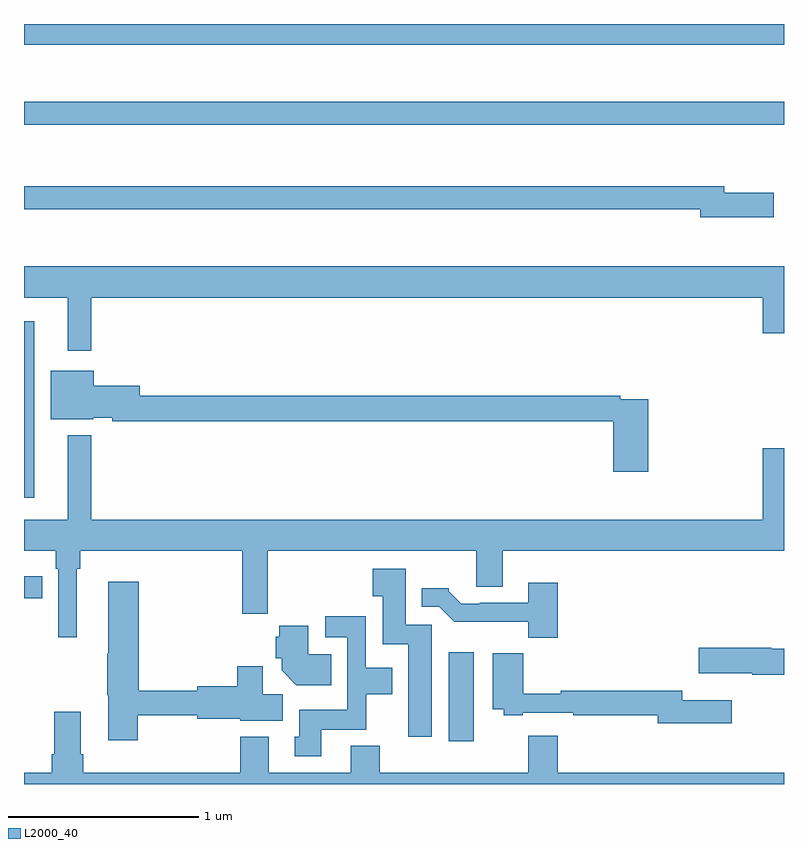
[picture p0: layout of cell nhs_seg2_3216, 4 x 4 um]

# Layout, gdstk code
import gdstk
lib = gdstk.Library(unit=1e-6, precision=1e-09)
def R(c, l, rs):  # rectangles x0, y0, x1, y1
    for r in rs: c.add(gdstk.rectangle(r[:2], r[2:], *l))
def P(c, l, *ps):  # polygons
    for p in ps: c.add(gdstk.Polygon(p, *l))
L2000_40 = (2000, 40)

nhs_seg2_3216 = lib.new_cell('nhs_seg2_3216')
R(nhs_seg2_3216, L2000_40, [(283.235,588.024,283.366,588.493), (281,588.778,281.096,588.894), (281,589.307,281.053,590.236), (281,591.27,285,591.391), (281,591.692,285,591.8)])
P(nhs_seg2_3216, L2000_40, [(284.947,590.913),(284.686,590.913),(284.686,590.947),(281,590.947),(281,590.826),(284.558,590.826),(284.558,590.783),(284.947,590.783)],
  [(281.353,590.36),(284.888,590.36),(284.888,590.172),(285,590.172),(285,590.524),(281,590.524),(281,590.36),(281.231,590.36),(281.231,590.079),(281.353,590.079)],
  [(284.285,589.824),(284.138,589.824),(284.138,589.844),(281.608,589.844),(281.608,589.897),(281.368,589.897),(281.368,589.975),(281.141,589.975),(281.141,589.721),(281.364,589.721),(281.364,589.727),(281.464,589.727),(281.464,589.708),(284.102,589.708),(284.102,589.443),(284.285,589.443)],
  [(281.278,588.932),(281.297,588.932),(281.297,589.028),(282.148,589.028),(282.148,588.696),(282.284,588.696),(282.284,589.028),(283.379,589.028),(283.379,588.838),(283.519,588.838),(283.519,589.028),(285,589.028),(285,589.567),(284.888,589.567),(284.888,589.192),(281.353,589.192),(281.353,589.636),(281.231,589.636),(281.231,589.192),(281,589.192),(281,589.028),(281.168,589.028),(281.168,588.932),(281.181,588.932),(281.181,588.573),(281.278,588.573)],
  [(283.147,588.639),(283.009,588.639),(283.009,588.934),(282.836,588.934),(282.836,588.787),(282.887,588.787),(282.887,588.536),(283.022,588.536),(283.022,588.048),(283.147,588.048)],
  [(281.598,588.162),(281.912,588.162),(281.912,588.143),(282.138,588.143),(282.138,588.134),(282.361,588.134),(282.361,588.272),(282.256,588.272),(282.256,588.421),(282.122,588.421),(282.122,588.314),(281.912,588.314),(281.912,588.29),(281.603,588.29),(281.603,588.865),(281.444,588.865),(281.444,588.485),(281.437,588.485),(281.437,588.267),(281.444,588.267),(281.444,588.03),(281.598,588.03)],
  [(283.808,588.859),(283.655,588.859),(283.655,588.753),(283.399,588.753),(283.399,588.75),(283.3,588.75),(283.236,588.814),(283.236,588.829),(283.094,588.829),(283.094,588.732),(283.185,588.732),(283.264,588.654),(283.653,588.654),(283.653,588.569),(283.808,588.569)],
  [(282.565,588.086),(282.801,588.086),(282.801,588.272),(282.937,588.272),(282.937,588.412),(282.798,588.412),(282.798,588.682),(282.585,588.682),(282.585,588.573),(282.702,588.573),(282.702,588.19),(282.449,588.19),(282.449,588.048),(282.425,588.048),(282.425,587.946),(282.565,587.946)],
  [(282.617,588.484),(282.496,588.484),(282.496,588.634),(282.344,588.634),(282.344,588.576),(282.326,588.576),(282.326,588.462),(282.356,588.462),(282.356,588.398),(282.434,588.32),(282.617,588.32)],
  [(285,588.512),(284.934,588.512),(284.934,588.518),(284.55,588.518),(284.55,588.383),(284.834,588.383),(284.834,588.376),(285,588.376)],
  [(284.725,588.241),(284.464,588.241),(284.464,588.29),(283.826,588.29),(283.826,588.275),(283.628,588.275),(283.628,588.487),(283.466,588.487),(283.466,588.194),(283.524,588.194),(283.524,588.162),(283.624,588.162),(283.624,588.174),(283.891,588.174),(283.891,588.162),(284.336,588.162),(284.336,588.119),(284.725,588.119)],
  [(285,587.86),(283.808,587.86),(283.808,588.055),(283.655,588.055),(283.655,587.86),(282.872,587.86),(282.872,588.001),(282.719,588.001),(282.719,587.86),(282.289,587.86),(282.289,588.049),(282.137,588.049),(282.137,587.86),(281.312,587.86),(281.312,587.956),(281.299,587.956),(281.299,588.181),(281.159,588.181),(281.159,587.956),(281.147,587.956),(281.147,587.86),(281,587.86),(281,587.8),(285,587.8)])

lib.write_gds('nhs_seg2_3216.gds')
